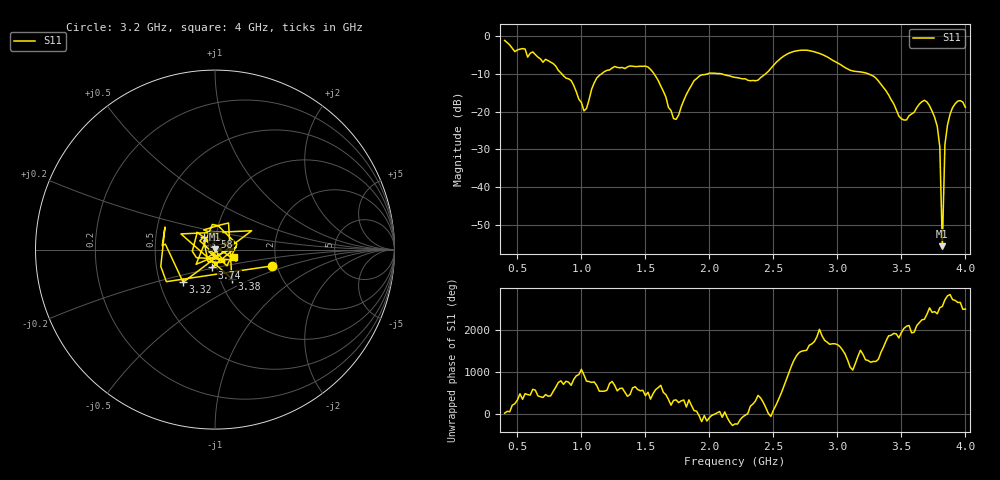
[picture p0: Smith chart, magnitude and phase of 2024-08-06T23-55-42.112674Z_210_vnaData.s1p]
!Created with skrf (http://scikit-rf.org).
# Hz S RI R 50.0
!freq ReS11 ImS11
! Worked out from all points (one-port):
!   181 points, 400 MHz to 4 GHz, reference 50 ohm
!   lowest |S11| = -55.6 dB at 3.82 GHz (marker M1), VSWR 1.00, Z = 50.1 + j0.113 ohm
!   |S11| at or under -10 dB: 1.567 GHz to 1.988 GHz (421 MHz wide, 23.7 % of centre); 2.089 GHz to 2.44 GHz (351 MHz wide, 15.5 % of centre); 3.24 GHz to end of sweep (the widest 3 of 4)
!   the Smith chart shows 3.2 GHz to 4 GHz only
!   S11 on the Smith chart (normalised r, x): 3.2 GHz: 1.87, -0.38; 3.32 GHz: 0.66, -0.26; 3.38 GHz: 1.14, -0.38; 3.58 GHz: 0.87, +0.12; 3.74 GHz: 0.95, -0.19; 4 GHz: 1.23, -0.10
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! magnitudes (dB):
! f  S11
! 400 MHz  -1.2
! 860 MHz  -10.6
! 1.02 GHz  -19.8
! 1.12 GHz  -11.1
! 1.3 GHz  -8.4
! 1.52 GHz  -8.2
! 1.72 GHz  -21.9
! 1.76 GHz  -20.9
! 1.92 GHz  -10.7
! 2.2 GHz  -11.0
! 2.38 GHz  -11.7
! 2.66 GHz  -4.1
! 3.1 GHz  -9.1
! 3.2 GHz  -9.7
! 3.32 GHz  -11.9
! 3.38 GHz  -14.5
! 3.5 GHz  -21.9
! 3.56 GHz  -21.1
! 3.58 GHz  -20.6
! 3.68 GHz  -17.0
! 3.74 GHz  -19.9
! 3.78 GHz  -23.9
! 3.8 GHz  -29.3
! 3.82 GHz  -55.6
! 3.84 GHz  -28.7
! 3.86 GHz  -23.6
! 3.94 GHz  -17.3
! 4 GHz  -18.9
